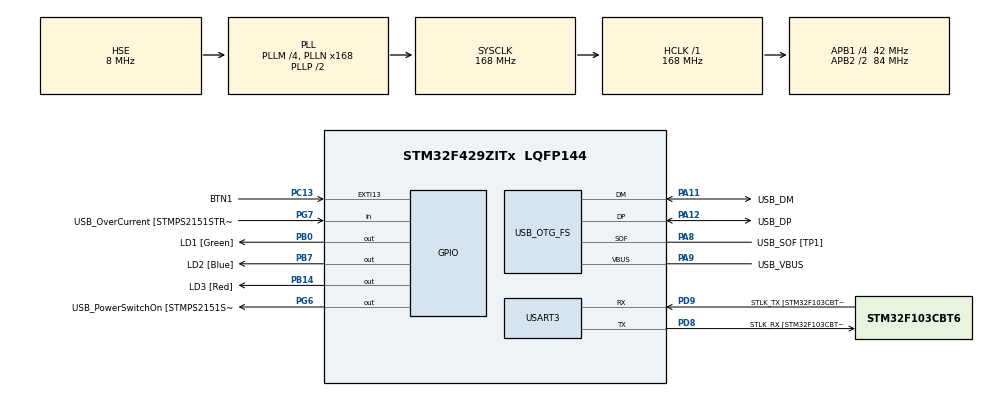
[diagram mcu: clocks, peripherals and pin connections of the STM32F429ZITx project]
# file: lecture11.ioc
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Mcu.Family=STM32F4
Mcu.Name=STM32F429ZITx
Mcu.Package=LQFP144
NVIC.OTG_FS_IRQn=true\:0\:0\:false\:false\:true\:false\:true\:true
NVIC.PriorityGroup=NVIC_PRIORITYGROUP_4
PA1.GPIO_Label=RMII_REF_CLK [LAN8742A-CZ-TR_REFCLK0]
PA1.Signal=ETH_REF_CLK
PA10.GPIO_Label=USB_ID
PA10.Signal=USB_OTG_FS_ID
PA11.GPIO_Label=USB_DM
PA11.Mode=Device_Only
PA11.Signal=USB_OTG_FS_DM
PA12.GPIO_Label=USB_DP
PA12.Mode=Device_Only
PA12.Signal=USB_OTG_FS_DP
PA13.GPIO_Label=TMS
PA13.Mode=Serial_Wire
PA13.Signal=SYS_JTMS-SWDIO
PA14.GPIO_Label=TCK
PA14.Mode=Serial_Wire
PA14.Signal=SYS_JTCK-SWCLK
PA2.GPIO_Label=RMII_MDIO [LAN8742A-CZ-TR_MDIO]
PA2.Signal=ETH_MDIO
PA7.GPIO_Label=RMII_CRS_DV [LAN8742A-CZ-TR_CRS_DV]
PA7.Signal=ETH_CRS_DV
PA8.GPIO_Label=USB_SOF [TP1]
PA8.Mode=Activate_SOF_FS
PA8.Signal=USB_OTG_FS_SOF
PA9.GPIO_Label=USB_VBUS
PA9.Mode=Activate_VBUS
PA9.Signal=USB_OTG_FS_VBUS
PB0.GPIO_Label=LD1 [Green]
PB0.Signal=GPIO_Output
PB13.GPIO_Label=RMII_TXD1 [LAN8742A-CZ-TR_TXD1]
PB13.Signal=ETH_TXD1
PB14.GPIO_Label=LD3 [Red]
PB14.Signal=GPIO_Output
PB7.GPIO_Label=LD2 [Blue]
PB7.Signal=GPIO_Output
PC1.GPIO_Label=RMII_MDC [LAN8742A-CZ-TR_MDC]
PC1.Signal=ETH_MDC
PC13.GPIO_Label=BTN1
PC13.Signal=GPXTI13
PC14/OSC32_IN.Mode=LSE-External-Oscillator
PC14/OSC32_IN.Signal=RCC_OSC32_IN
PC15/OSC32_OUT.Mode=LSE-External-Oscillator
PC15/OSC32_OUT.Signal=RCC_OSC32_OUT
PC4.GPIO_Label=RMII_RXD0 [LAN8742A-CZ-TR_RXD0]
PC4.Signal=ETH_RXD0
PC5.GPIO_Label=RMII_RXD1 [LAN8742A-CZ-TR_RXD1]
PC5.Signal=ETH_RXD1
PD8.GPIO_Label=STLK_RX [STM32F103CBT6_PA3]
PD8.Mode=Asynchronous
PD8.Signal=USART3_TX
PD9.GPIO_Label=STLK_TX [STM32F103CBT6_PA2]
PD9.Mode=Asynchronous
PD9.Signal=USART3_RX
PG11.GPIO_Label=RMII_TX_EN [LAN8742A-CZ-TR_TXEN]
PG11.Signal=ETH_TX_EN
PG13.GPIO_Label=RMII_TXD0 [LAN8742A-CZ-TR_TXD0]
PG13.Signal=ETH_TXD0
PG6.GPIO_Label=USB_PowerSwitchOn [STMPS2151STR_EN]
PG6.Signal=GPIO_Output
PG7.GPIO_Label=USB_OverCurrent [STMPS2151STR_FAULT]
PG7.Signal=GPIO_Input
PH0/OSC_IN.GPIO_Label=MCO [STM32F103CBT6_PA8]
PH0/OSC_IN.Mode=HSE-External-Clock-Source
PH0/OSC_IN.Signal=RCC_OSC_IN
PH1/OSC_OUT.Mode=HSE-External-Clock-Source
PH1/OSC_OUT.Signal=RCC_OSC_OUT
ProjectManager.HeapSize=0x200
ProjectManager.StackSize=0x400
ProjectManager.TargetToolchain=STM32CubeIDE
RCC.48MHZClocksFreq_Value=48000000
RCC.AHBFreq_Value=168000000
RCC.APB1CLKDivider=RCC_HCLK_DIV4
RCC.APB1Freq_Value=42000000
RCC.APB1TimFreq_Value=84000000
RCC.APB2CLKDivider=RCC_HCLK_DIV2
RCC.APB2Freq_Value=84000000
RCC.APB2TimCLKDivider=2
RCC.APB2TimFreq_Value=168000000
RCC.CortexFreq_Value=168000000
RCC.HCLKFreq_Value=168000000
RCC.HSE_VALUE=8000000
RCC.HSI_VALUE=16000000
RCC.PLLM=4
RCC.PLLMUL=RCC_PLL_MUL9
RCC.PLLN=168
RCC.PLLQ=7
RCC.PRESCALERUSB=RCC_USBCLKSOURCE_PLL_DIV1_5
RCC.SYSCLKFreq_VALUE=168000000
RCC.SYSCLKSource=RCC_SYSCLKSOURCE_PLLCLK
RCC.SYSCLKSourceVirtual=RCC_SYSCLKSOURCE_PLLCLK
RCC.USBFreq_Value=48000000
RCC.VCOOutputFreq_Value=336000000
USART3.VirtualMode=VM_ASYNC
USB_DEVICE.CLASS_NAME_FS=HID
USB_DEVICE.VirtualMode-HID_FS=Hid
USB_DEVICE.VirtualModeFS=Hid_FS
USB_OTG_FS.VirtualMode=Device_Only
VP_USB_DEVICE_VS_USB_DEVICE_HID_FS.Mode=HID_FS
board=NUCLEO-F429ZI

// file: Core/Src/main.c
/* USER CODE BEGIN Header */
/**
  ******************************************************************************
  * @file           : main.c
  * @brief          : Main program body
  ******************************************************************************
  * @attention
  *
  * Copyright (c) 2024 STMicroelectronics.
  * All rights reserved.
  *
  * This software is licensed under terms that can be found in the LICENSE file
  * in the root directory of this software component.
  * If no LICENSE file comes with this software, it is provided AS-IS.
  *
  ******************************************************************************
  */
/* USER CODE END Header */
#include "main.h"
#include "usb_device.h"

/* USER CODE BEGIN Includes */
#include "usbd_hid.h"
#include <math.h>

/* USER CODE END Includes */

/* USER CODE BEGIN PD */
#define BTN_PRESSED 1
#define BTN_RELEASED 0
/* USER CODE END PD */

UART_HandleTypeDef huart3;

/* USER CODE BEGIN PV */
extern USBD_HandleTypeDef hUsbDeviceFS;
/* USER CODE END PV */

void SystemClock_Config(void);
static void MX_GPIO_Init(void);
static void MX_USART3_UART_Init(void);

/* USER CODE BEGIN 0 */
void step(int x, int y, uint8_t btn){
	uint8_t buff[4];
	buff[0] = 0x00 | btn; // stiskni leve tlacitko
	buff[1] = (int8_t)(x); // posun X +10
	buff[2] = (int8_t)(y); // posun Y -3
	buff[3] = 0; // bez scrollu
	USBD_HID_SendReport(&hUsbDeviceFS, buff, sizeof(buff));
	HAL_Delay(USBD_HID_GetPollingInterval(&hUsbDeviceFS));
}

void draw_circle(float radius, int px, int py){
	float x = 0, y = 0;

	step (px, py, 0);

	for (int i=0;i<=360; i++){
		x= round(radius *cos(i*(M_PI/180)));
		y= round(radius *sin(i*(M_PI/180)));

		step((int)x, (int)y,1);
	}

	step (0,0,0);
}

void draw_mouse(float radius, int px, int py){
	float x = 0, y = 0;

	step (px, py, 0);

	for (int i=90;i<=270; i++){
		x= round(radius *cos(i*(M_PI/180)));
		y= round(radius *sin(i*(M_PI/180)));

		step((int)x, (int)y,1);
	}

	step (0,0,0);
}
/* USER CODE END 0 */

int main(void)
{

  /* MCU Configuration--------------------------------------------------------*/

  /* Reset of all peripherals, Initializes the Flash interface and the Systick. */
  HAL_Init();

  /* Configure the system clock */
  SystemClock_Config();

  /* Initialize all configured peripherals */
  MX_GPIO_Init();
  MX_USART3_UART_Init();
  MX_USB_DEVICE_Init();

  /* Infinite loop */
  /* USER CODE BEGIN WHILE */
  while (1)
  {
	  if(HAL_GPIO_ReadPin(BTN1_GPIO_Port, BTN1_Pin)){
		  draw_circle(5, 0, 0);

		  step(0,80,BTN_PRESSED);
		  step(0,50,BTN_PRESSED);
		  step(0,0,BTN_RELEASED);

		  step(-40,-60,BTN_PRESSED);
		  draw_circle(1, 0,0);
		  step(0,0,BTN_RELEASED);

		  step(127,0,BTN_PRESSED);
		  draw_circle(1,0,0);
		  step(0,0,BTN_RELEASED);

		  step(10,120,BTN_PRESSED);
		  draw_mouse(3,0,0);
		  step(0,0,BTN_RELEASED);

		  step(0,0,BTN_RELEASED);
	  }
    /* USER CODE END WHILE */

  }
}

void SystemClock_Config(void)
{
  RCC_OscInitTypeDef RCC_OscInitStruct = {0};
  RCC_ClkInitTypeDef RCC_ClkInitStruct = {0};

  /** Configure the main internal regulator output voltage
  */
  __HAL_RCC_PWR_CLK_ENABLE();
  __HAL_PWR_VOLTAGESCALING_CONFIG(PWR_REGULATOR_VOLTAGE_SCALE1);

  /** Initializes the RCC Oscillators according to the specified parameters
  * in the RCC_OscInitTypeDef structure.
  */
  RCC_OscInitStruct.OscillatorType = RCC_OSCILLATORTYPE_HSE;
  RCC_OscInitStruct.HSEState = RCC_HSE_BYPASS;
  RCC_OscInitStruct.PLL.PLLState = RCC_PLL_ON;
  RCC_OscInitStruct.PLL.PLLSource = RCC_PLLSOURCE_HSE;
  RCC_OscInitStruct.PLL.PLLM = 4;
  RCC_OscInitStruct.PLL.PLLN = 168;
  RCC_OscInitStruct.PLL.PLLP = RCC_PLLP_DIV2;
  RCC_OscInitStruct.PLL.PLLQ = 7;
  if (HAL_RCC_OscConfig(&RCC_OscInitStruct) != HAL_OK)
  {
    Error_Handler();
  }

  /** Initializes the CPU, AHB and APB buses clocks
  */
  RCC_ClkInitStruct.ClockType = RCC_CLOCKTYPE_HCLK|RCC_CLOCKTYPE_SYSCLK
                              |RCC_CLOCKTYPE_PCLK1|RCC_CLOCKTYPE_PCLK2;
  RCC_ClkInitStruct.SYSCLKSource = RCC_SYSCLKSOURCE_PLLCLK;
  RCC_ClkInitStruct.AHBCLKDivider = RCC_SYSCLK_DIV1;
  RCC_ClkInitStruct.APB1CLKDivider = RCC_HCLK_DIV4;
  RCC_ClkInitStruct.APB2CLKDivider = RCC_HCLK_DIV2;

  if (HAL_RCC_ClockConfig(&RCC_ClkInitStruct, FLASH_LATENCY_5) != HAL_OK)
  {
    Error_Handler();
  }
}

static void MX_USART3_UART_Init(void)
{

  huart3.Instance = USART3;
  huart3.Init.BaudRate = 115200;
  huart3.Init.WordLength = UART_WORDLENGTH_8B;
  huart3.Init.StopBits = UART_STOPBITS_1;
  huart3.Init.Parity = UART_PARITY_NONE;
  huart3.Init.Mode = UART_MODE_TX_RX;
  huart3.Init.HwFlowCtl = UART_HWCONTROL_NONE;
  huart3.Init.OverSampling = UART_OVERSAMPLING_16;
  if (HAL_UART_Init(&huart3) != HAL_OK)
  {
    Error_Handler();
  }

}

static void MX_GPIO_Init(void)
{
  GPIO_InitTypeDef GPIO_InitStruct = {0};

  /* GPIO Ports Clock Enable */
  __HAL_RCC_GPIOC_CLK_ENABLE();
  __HAL_RCC_GPIOH_CLK_ENABLE();
  __HAL_RCC_GPIOA_CLK_ENABLE();
  __HAL_RCC_GPIOB_CLK_ENABLE();
  __HAL_RCC_GPIOD_CLK_ENABLE();
  __HAL_RCC_GPIOG_CLK_ENABLE();

  /*Configure GPIO pin Output Level */
  HAL_GPIO_WritePin(GPIOB, LD1_Pin|LD3_Pin|LD2_Pin, GPIO_PIN_RESET);

  /*Configure GPIO pin Output Level */
  HAL_GPIO_WritePin(USB_PowerSwitchOn_GPIO_Port, USB_PowerSwitchOn_Pin, GPIO_PIN_RESET);

  /*Configure GPIO pin : BTN1_Pin */
  GPIO_InitStruct.Pin = BTN1_Pin;
  GPIO_InitStruct.Mode = GPIO_MODE_IT_RISING;
  GPIO_InitStruct.Pull = GPIO_NOPULL;
  HAL_GPIO_Init(BTN1_GPIO_Port, &GPIO_InitStruct);

  /*Configure GPIO pins : RMII_MDC_Pin RMII_RXD0_Pin RMII_RXD1_Pin */
  GPIO_InitStruct.Pin = RMII_MDC_Pin|RMII_RXD0_Pin|RMII_RXD1_Pin;
  GPIO_InitStruct.Mode = GPIO_MODE_AF_PP;
  GPIO_InitStruct.Pull = GPIO_NOPULL;
  GPIO_InitStruct.Speed = GPIO_SPEED_FREQ_VERY_HIGH;
  GPIO_InitStruct.Alternate = GPIO_AF11_ETH;
  HAL_GPIO_Init(GPIOC, &GPIO_InitStruct);

  /*Configure GPIO pins : RMII_REF_CLK_Pin RMII_MDIO_Pin RMII_CRS_DV_Pin */
  GPIO_InitStruct.Pin = RMII_REF_CLK_Pin|RMII_MDIO_Pin|RMII_CRS_DV_Pin;
  GPIO_InitStruct.Mode = GPIO_MODE_AF_PP;
  GPIO_InitStruct.Pull = GPIO_NOPULL;
  GPIO_InitStruct.Speed = GPIO_SPEED_FREQ_VERY_HIGH;
  GPIO_InitStruct.Alternate = GPIO_AF11_ETH;
  HAL_GPIO_Init(GPIOA, &GPIO_InitStruct);

  /*Configure GPIO pins : LD1_Pin LD3_Pin LD2_Pin */
  GPIO_InitStruct.Pin = LD1_Pin|LD3_Pin|LD2_Pin;
  GPIO_InitStruct.Mode = GPIO_MODE_OUTPUT_PP;
  GPIO_InitStruct.Pull = GPIO_NOPULL;
  GPIO_InitStruct.Speed = GPIO_SPEED_FREQ_LOW;
  HAL_GPIO_Init(GPIOB, &GPIO_InitStruct);

  /*Configure GPIO pin : RMII_TXD1_Pin */
  GPIO_InitStruct.Pin = RMII_TXD1_Pin;
  GPIO_InitStruct.Mode = GPIO_MODE_AF_PP;
  GPIO_InitStruct.Pull = GPIO_NOPULL;
  GPIO_InitStruct.Speed = GPIO_SPEED_FREQ_VERY_HIGH;
  GPIO_InitStruct.Alternate = GPIO_AF11_ETH;
  HAL_GPIO_Init(RMII_TXD1_GPIO_Port, &GPIO_InitStruct);

  /*Configure GPIO pin : USB_PowerSwitchOn_Pin */
  GPIO_InitStruct.Pin = USB_PowerSwitchOn_Pin;
  GPIO_InitStruct.Mode = GPIO_MODE_OUTPUT_PP;
  GPIO_InitStruct.Pull = GPIO_NOPULL;
  GPIO_InitStruct.Speed = GPIO_SPEED_FREQ_LOW;
  HAL_GPIO_Init(USB_PowerSwitchOn_GPIO_Port, &GPIO_InitStruct);

  /*Configure GPIO pin : USB_OverCurrent_Pin */
  GPIO_InitStruct.Pin = USB_OverCurrent_Pin;
  GPIO_InitStruct.Mode = GPIO_MODE_INPUT;
  GPIO_InitStruct.Pull = GPIO_NOPULL;
  HAL_GPIO_Init(USB_OverCurrent_GPIO_Port, &GPIO_InitStruct);

  /*Configure GPIO pins : RMII_TX_EN_Pin RMII_TXD0_Pin */
  GPIO_InitStruct.Pin = RMII_TX_EN_Pin|RMII_TXD0_Pin;
  GPIO_InitStruct.Mode = GPIO_MODE_AF_PP;
  GPIO_InitStruct.Pull = GPIO_NOPULL;
  GPIO_InitStruct.Speed = GPIO_SPEED_FREQ_VERY_HIGH;
  GPIO_InitStruct.Alternate = GPIO_AF11_ETH;
  HAL_GPIO_Init(GPIOG, &GPIO_InitStruct);

}

void Error_Handler(void)
{
  __disable_irq();
  while (1)
  {
  }
}
